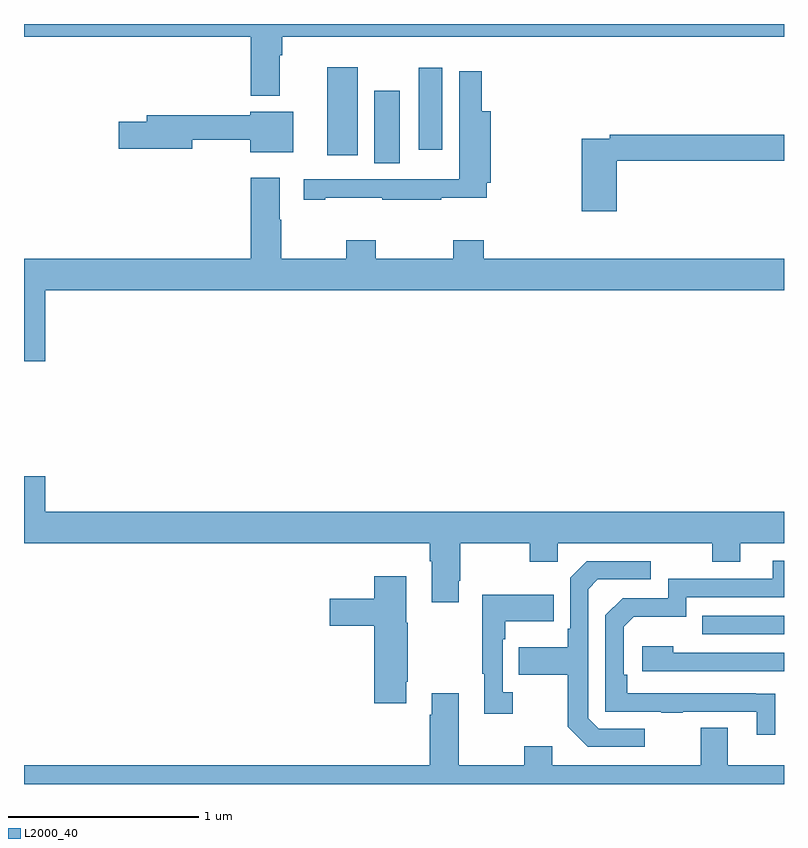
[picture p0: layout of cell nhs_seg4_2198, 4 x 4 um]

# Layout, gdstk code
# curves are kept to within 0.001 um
import gdstk
lib = gdstk.Library(unit=1e-6, precision=1e-09)
def R(c, l, rs):  # rectangles x0, y0, x1, y1
    for r in rs: c.add(gdstk.rectangle(r[:2], r[2:], *l))
def P(c, l, *ps):  # polygons
    for p in ps: c.add(gdstk.Polygon(p, *l))
L2000_40 = (2000, 40)

nhs_seg4_2198 = lib.new_cell('nhs_seg4_2198')
R(nhs_seg4_2198, L2000_40, [(228.571,781.689,229,781.785), (226.844,784.168,226.978,784.549), (226.595,784.209,226.756,784.672), (227.078,784.239,227.2,784.669)])
P(nhs_seg4_2198, L2000_40, [(226.345,784.736),(226.358,784.736),(226.358,784.832),(229,784.832),(229,784.9),(225,784.9),(225,784.832),(226.193,784.832),(226.193,784.523),(226.345,784.523)],
  [(226.585,783.985),(226.885,783.985),(226.885,783.975),(227.195,783.975),(227.195,783.985),(227.435,783.985),(227.435,784.065),(227.456,784.065),(227.456,784.441),(227.408,784.441),(227.408,784.651),(227.292,784.651),(227.292,784.084),(227.082,784.084),(227.082,784.083),(226.473,784.083),(226.473,783.975),(226.585,783.975)],
  [(226.417,784.438),(226.19,784.438),(226.19,784.42),(225.647,784.42),(225.647,784.386),(225.498,784.386),(225.498,784.244),(225.886,784.244),(225.886,784.291),(226.19,784.291),(226.19,784.226),(226.417,784.226)],
  [(228.119,784.18),(229,784.18),(229,784.316),(228.082,784.316),(228.082,784.296),(227.936,784.296),(227.936,783.915),(228.119,783.915)],
  [(229,783.664),(227.42,783.664),(227.42,783.763),(227.26,783.763),(227.26,783.664),(226.851,783.664),(226.851,783.763),(226.696,783.763),(226.696,783.664),(226.353,783.664),(226.353,783.869),(226.345,783.869),(226.345,784.09),(226.193,784.09),(226.193,783.664),(225,783.664),(225,783.126),(225.112,783.126),(225.112,783.5),(229,783.5)],
  [(227.287,781.969),(227.295,781.969),(227.295,782.168),(227.662,782.168),(227.662,782.069),(227.808,782.069),(227.808,782.168),(228.622,782.168),(228.622,782.069),(228.769,782.069),(228.769,782.168),(229,782.168),(229,782.332),(225.112,782.332),(225.112,782.521),(225,782.521),(225,782.168),(227.135,782.168),(227.135,782.072),(227.147,782.072),(227.147,781.857),(227.287,781.857)],
  [(228.953,781.376),(228.176,781.377),(228.176,781.474),(228.156,781.474),(228.156,781.728),(228.209,781.781),(228.486,781.781),(228.486,781.884),(229,781.884),(229,782.076),(228.941,782.076),(228.941,781.98),(228.39,781.98),(228.39,781.878),(228.15,781.878),(228.06,781.788),(228.06,781.281),(228.355,781.281),(228.355,781.276),(228.467,781.276),(228.467,781.281),(228.857,781.281),(228.857,781.158),(228.953,781.158)],
  [(228.268,781.191),(228.024,781.191),(227.97,781.245),(227.97,781.926),(228.021,781.977),(228.298,781.977),(228.298,782.073),(227.961,782.073),(227.874,781.986),(227.874,781.717),(227.862,781.717),(227.862,781.621),(227.605,781.621),(227.605,781.474),(227.862,781.474),(227.862,781.201),(227.967,781.095),(228.268,781.095)],
  [(227.011,781.438),(227.019,781.438),(227.019,781.749),(227.011,781.749),(227.011,781.993),(226.844,781.993),(226.844,781.875),(226.608,781.875),(226.608,781.733),(226.844,781.733),(226.844,781.326),(227.011,781.326)],
  [(227.572,781.382),(227.52,781.382),(227.52,781.661),(227.533,781.661),(227.533,781.757),(227.789,781.757),(227.789,781.897),(227.412,781.897),(227.412,781.481),(227.423,781.481),(227.423,781.269),(227.572,781.269)],
  [(229,781.59),(228.416,781.59),(228.416,781.624),(228.255,781.624),(228.255,781.494),(229,781.494)],
  [(229,781),(228.703,781),(228.703,781.195),(228.563,781.195),(228.563,781),(227.779,781),(227.779,781.099),(227.632,781.099),(227.632,781),(227.287,781),(227.287,781.378),(227.147,781.378),(227.147,781.265),(227.135,781.265),(227.135,781),(225,781),(225,780.9),(229,780.9)])

lib.write_gds('nhs_seg4_2198.gds')
